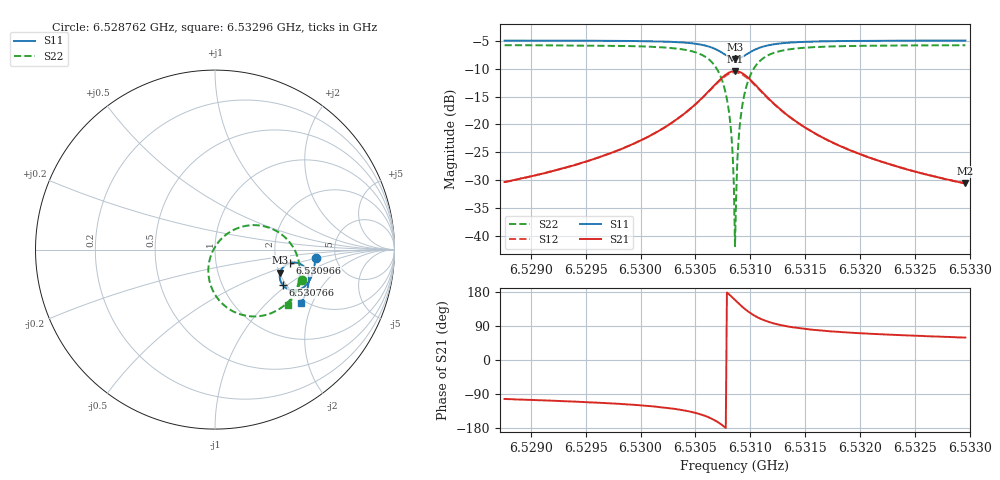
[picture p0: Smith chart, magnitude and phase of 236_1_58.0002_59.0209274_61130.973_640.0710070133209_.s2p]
#  HZ  S  RI  R  50.00
! Rohde & Schwarz Vector Network Analyzer
! Rohde-Schwarz,ZNB20-2Port,1311601062101988,3.16
! Created: UTC 3/21/2024, 1:00:51 AM
! freq[Hz]  re:S11  im:S11  re:S21  im:S21  re:S12  im:S12  re:S22  im:S22
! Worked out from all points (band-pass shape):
!   401 points, 6.528762 GHz to 6.53296 GHz, reference 50 ohm
!   highest |S21| = -10.44 dB at 6.530861 GHz (marker M1); lowest = -30.5 dB at 6.53296 GHz (marker M2)
!   |S21| within 3 dB of the highest: 6.530652 GHz to 6.531072 GHz (419.8 kHz wide, 0.00643 % of centre)
!   lowest |S11| = -8.3 dB at 6.530861 GHz (marker M3), VSWR 2.25, Z = 101 - j30.3 ohm
!   |S11| at or under -10 dB: nowhere
!   |S22| runs from -41.8 to -5.8 dB; largest |S21 - S12| = 0.012
!   S11 on the Smith chart (normalised r, x): 6.528762 GHz: 3.49, -0.49; 6.530766 GHz: 1.92, -0.92; 6.530966 GHz: 2.38, -0.43; 6.53296 GHz: 1.89, -1.66
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6.5287619e9  0.5601 -0.0479  -0.00683 -0.0298  -0.00748 -0.0297  0.483 -0.1692
6.529465e9  0.5511 -0.1064  -0.0161 -0.0424  -0.0172 -0.0421  0.4522 -0.2331
6.5301682e9  0.5241 -0.1761  -0.049 -0.0728  -0.0511 -0.0714  0.3714 -0.3222
6.5304096e9  0.4979 -0.2066  -0.0879 -0.092  -0.0906 -0.089  0.2922 -0.3617
6.530588e9  0.4551 -0.2265  -0.1548 -0.0986  -0.1571 -0.0923  0.1684 -0.3677
6.530693e9  0.411 -0.2221  -0.2232 -0.0729  -0.2224 -0.0634  0.0536 -0.3125
6.5307665e9  0.3763 -0.1957  -0.2735 -0.0156  -0.268 -0.00564  -0.021 -0.2071
6.5308084e9  0.3631 -0.1685  -0.2892 0.0363  -0.2806 0.0444  -0.0373 -0.1185
6.5308294e9  0.3607 -0.1525  -0.2899 0.0658  -0.2799 0.0723  -0.0328 -0.0702
6.5308399e9  0.3608 -0.1441  -0.2879 0.0808  -0.2777 0.0863  -0.027 -0.0459
6.5308504e9  0.3618 -0.1358  -0.2846 0.0956  -0.2742 0.1003  -0.0186 -0.0223
6.5308609e9  0.3637 -0.1276  -0.2799 0.1101  -0.2691 0.1139  -0.00814 0.000492
6.5308714e9  0.3664 -0.1197  -0.2735 0.1243  -0.2628 0.127  0.0048 0.0222
6.5308819e9  0.37 -0.1121  -0.2659 0.1374  -0.2554 0.1394  0.0197 0.0425
6.5308924e9  0.3743 -0.105  -0.2571 0.1499  -0.2468 0.1507  0.0362 0.061
6.5309134e9  0.3848 -0.0925  -0.2367 0.1713  -0.2271 0.1706  0.0735 0.092
6.5309659e9  0.4171 -0.0741  -0.1775 0.2028  -0.1707 0.2  0.1764 0.1331
6.5310393e9  0.4593 -0.0738  -0.1037 0.2051  -0.1001 0.2022  0.3004 0.1225
6.5311443e9  0.4964 -0.0953  -0.0401 0.1749  -0.0383 0.1734  0.4028 0.0561
6.5315641e9  0.5231 -0.1744  0.015 0.0846  0.0161 0.0844  0.4723 -0.1333
6.5322673e9  0.5049 -0.2462  0.0173 0.0406  0.0181 0.0404  0.4433 -0.2482
6.53296e9  0.479 -0.2983  0.0151 0.0256  0.0157 0.0253  0.4081 -0.3081
